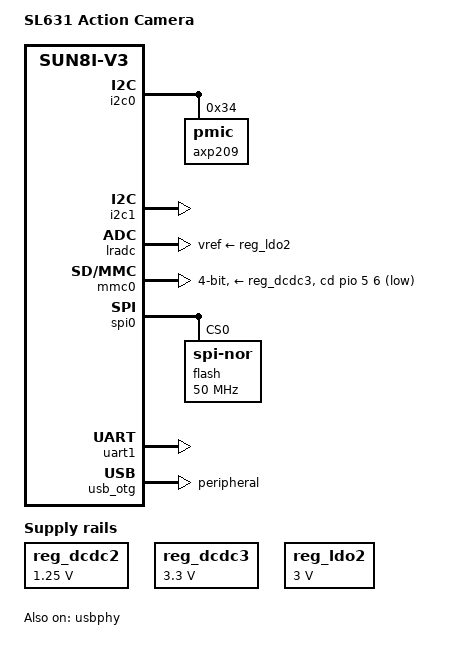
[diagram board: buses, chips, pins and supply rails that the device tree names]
// SPDX-License-Identifier: (GPL-2.0+ OR X11)
/*
 * Copyright 2020 Paul Kocialkowski <contact@paulk.fr>
 */

/dts-v1/;

#include "sun8i-v3.dtsi"

#include <dt-bindings/gpio/gpio.h>
#include <dt-bindings/input/input.h>

/ {
	model = "SL631 Action Camera";
	compatible = "allwinner,sl631", "allwinner,sun8i-v3";

	aliases {
		serial0 = &uart1;
	};

	chosen {
		stdout-path = "serial0:115200n8";
	};
};

&i2c0 {
	status = "okay";

	axp209: pmic@34 {
		reg = <0x34>;
		interrupt-parent = <&nmi_intc>;
		interrupts = <0 IRQ_TYPE_LEVEL_LOW>;
	};
};

&i2c1 {
	pinctrl-names = "default";
	pinctrl-0 = <&i2c1_pb_pins>;
	status = "okay";
};

&lradc {
	vref-supply = <&reg_ldo2>;
	status = "okay";

	button-174 {
		label = "Down";
		linux,code = <KEY_DOWN>;
		channel = <0>;
		voltage = <174603>;
	};

	button-384 {
		label = "Up";
		linux,code = <KEY_UP>;
		channel = <0>;
		voltage = <384126>;
	};

	button-593 {
		label = "OK";
		linux,code = <KEY_OK>;
		channel = <0>;
		voltage = <593650>;
	};
};

&mmc0 {
	cd-gpios = <&pio 5 6 GPIO_ACTIVE_LOW>; /* PF6 */
	bus-width = <4>;
	vmmc-supply = <&reg_dcdc3>;
	status = "okay";
};

&pio {
	vcc-pd-supply = <&reg_dcdc3>;
	vcc-pe-supply = <&reg_dcdc3>;
};

#include "axp209.dtsi"

&ac_power_supply {
	status = "okay";
};

&battery_power_supply {
	status = "okay";
};

&reg_dcdc2 {
	regulator-always-on;
	regulator-min-microvolt = <1250000>;
	regulator-max-microvolt = <1250000>;
	regulator-name = "vdd-sys-cpu";
};

&reg_dcdc3 {
	regulator-always-on;
	regulator-min-microvolt = <3300000>;
	regulator-max-microvolt = <3300000>;
	regulator-name = "vdd-3v3";
};

&reg_ldo1 {
	regulator-name = "vdd-rtc";
};

&reg_ldo2 {
	regulator-always-on;
	regulator-min-microvolt = <3000000>;
	regulator-max-microvolt = <3000000>;
	regulator-name = "avcc";
};

&spi0 {
	status = "okay";

	flash@0 {
		reg = <0>;
		compatible = "jedec,spi-nor";
		spi-max-frequency = <50000000>;
	};
};

&uart1 {
	pinctrl-0 = <&uart1_pg_pins>;
	pinctrl-names = "default";
	status = "okay";
};

&usb_otg {
	dr_mode = "peripheral";
	status = "okay";
};

&usbphy {
	status = "okay";
};
